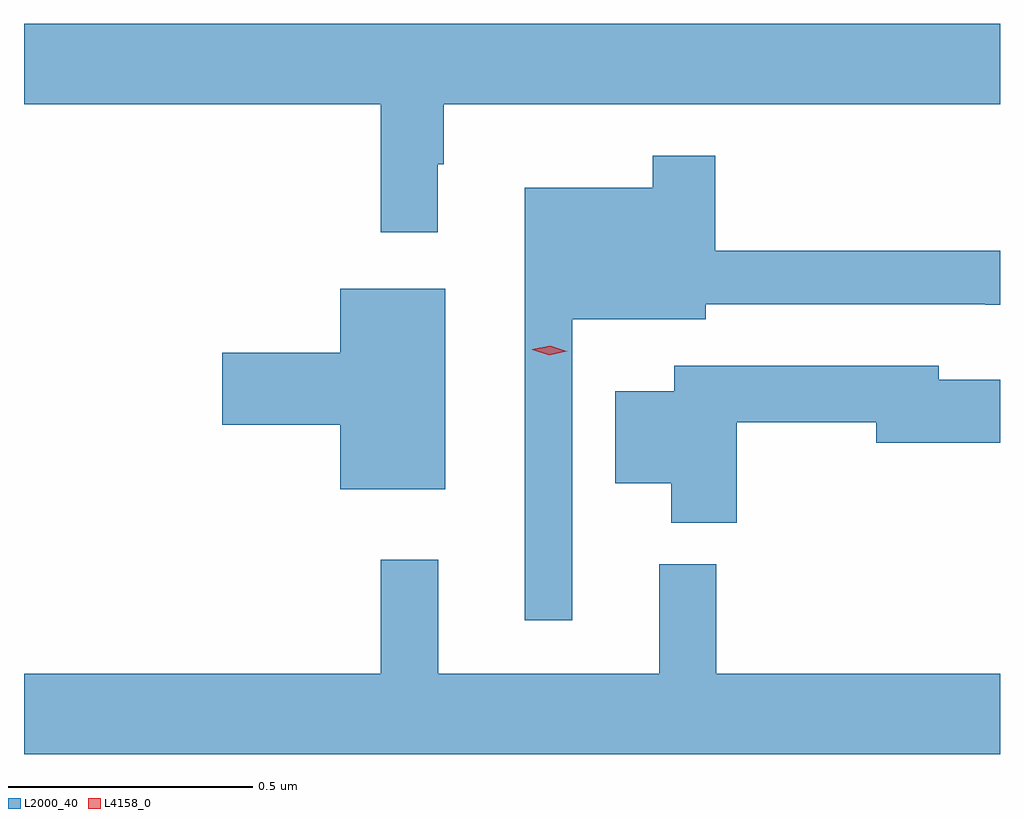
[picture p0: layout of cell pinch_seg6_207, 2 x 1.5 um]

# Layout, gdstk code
import gdstk
lib = gdstk.Library(unit=1e-6, precision=1e-09)
def P(c, l, *ps):  # polygons
    for p in ps: c.add(gdstk.Polygon(p, *l))
L2000_40 = (2000, 40)
L4158_0 = (4158, 0)

pinch_seg6_207 = lib.new_cell('pinch_seg6_207')
P(pinch_seg6_207, L2000_40, [(1067.986,921.905),(1067.998,921.905),(1067.998,922.028),(1069.138,922.028),(1069.138,922.192),(1067.138,922.192),(1067.138,922.028),(1067.869,922.028),(1067.869,921.765),(1067.986,921.765)],
  [(1068.261,921.587),(1068.535,921.587),(1068.535,921.618),(1069.108,921.618),(1069.108,921.617),(1069.138,921.617),(1069.138,921.727),(1068.554,921.727),(1068.554,921.922),(1068.426,921.922),(1068.426,921.856),(1068.164,921.856),(1068.164,920.97),(1068.261,920.97)],
  [(1068.001,921.649),(1067.786,921.649),(1067.786,921.518),(1067.544,921.518),(1067.544,921.371),(1067.786,921.371),(1067.786,921.239),(1068.001,921.239)],
  [(1068.599,921.376),(1068.884,921.376),(1068.884,921.334),(1069.138,921.334),(1069.138,921.463),(1069.012,921.463),(1069.012,921.492),(1068.47,921.492),(1068.47,921.439),(1068.35,921.439),(1068.35,921.251),(1068.464,921.251),(1068.464,921.17),(1068.599,921.17)],
  [(1069.138,920.86),(1068.557,920.86),(1068.557,921.085),(1068.44,921.085),(1068.44,920.86),(1067.987,920.86),(1067.987,921.094),(1067.869,921.094),(1067.869,920.86),(1067.138,920.86),(1067.138,920.696),(1069.138,920.696)])
P(pinch_seg6_207, L4158_0, [(1068.214,921.513),(1068.18,921.524),(1068.179,921.524),(1068.18,921.525),(1068.216,921.533),(1068.25,921.521),(1068.251,921.521),(1068.25,921.521)])

lib.write_gds('pinch_seg6_207.gds')
